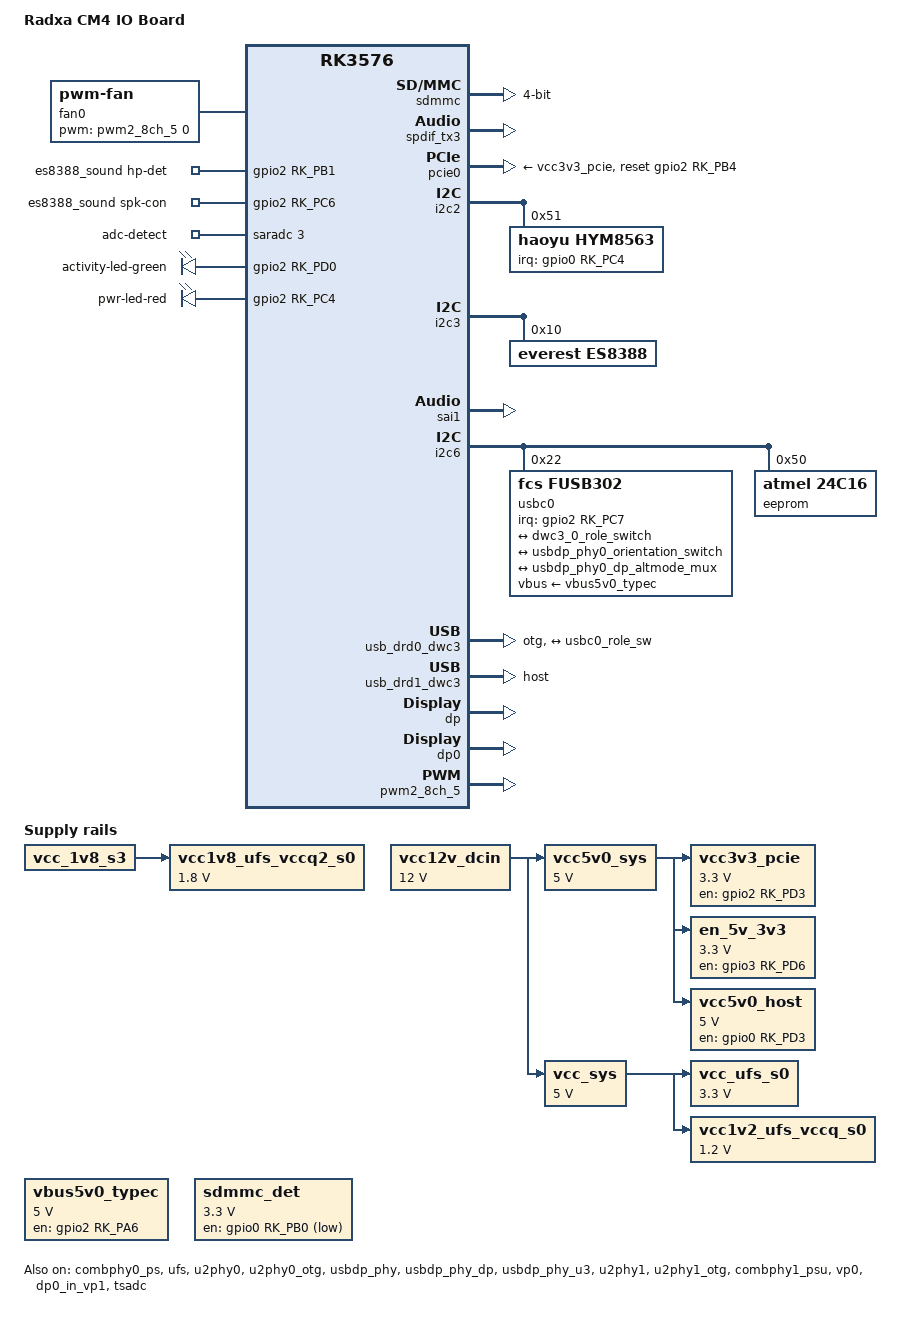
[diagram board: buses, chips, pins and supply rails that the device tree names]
// SPDX-License-Identifier: (GPL-2.0+ OR MIT)
/*
 * Copyright (c) 2025 Rockchip Electronics Co., Ltd.
 * Copyright (c) 2025 Radxa Computer (Shenzhen) Co., Ltd.
 *
 */

/dts-v1/;

#include "rk3576-radxa-cm4.dtsi"

/ {
	model = "Radxa CM4 IO Board";
	compatible = "radxa,cm4-io", "radxa,cm4", "rockchip,rk3576";

	/delete-node/ chosen;

	fan0: pwm-fan {
		compatible = "pwm-fan";
		#cooling-cells = <2>;
		cooling-levels = <0 64 128 192 255>;
		pwms = <&pwm2_8ch_5 0 60000 0>;
	};

	vcc12v_dcin: vcc12v-dcin {
		compatible = "regulator-fixed";
		regulator-name = "vcc12v_dcin";
		regulator-always-on;
		regulator-boot-on;
		regulator-min-microvolt = <12000000>;
		regulator-max-microvolt = <12000000>;
	};

	vcc5v0_sys: vcc5v0-sys {
		compatible = "regulator-fixed";
		regulator-name = "vcc5v0_sys";
		regulator-always-on;
		regulator-boot-on;
		regulator-min-microvolt = <5000000>;
		regulator-max-microvolt = <5000000>;
		vin-supply = <&vcc12v_dcin>;
	};

	vcc_sys: vcc5v0-sys {
		compatible = "regulator-fixed";
		regulator-name = "vcc_sys";
		regulator-always-on;
		regulator-boot-on;
		regulator-min-microvolt = <5000000>;
		regulator-max-microvolt = <5000000>;
		vin-supply = <&vcc12v_dcin>;
	};

	vcc3v3_pcie: vcc3v3-pcie {
		compatible = "regulator-fixed";
		regulator-name = "vcc3v3_pcie";
		regulator-min-microvolt = <3300000>;
		regulator-max-microvolt = <3300000>;
		startup-delay-us = <5000>;
		enable-active-high;
		regulator-boot-on;
		regulator-always-on;
		gpios = <&gpio2 RK_PD3 GPIO_ACTIVE_HIGH>;
		vin-supply = <&vcc5v0_sys>;
	};

	vbus5v0_typec: vbus5v0-typec {
		compatible = "regulator-fixed";
		regulator-name = "vbus5v0_typec";
		regulator-min-microvolt = <5000000>;
		regulator-max-microvolt = <5000000>;
		enable-active-high;
		gpio = <&gpio2 RK_PA6 GPIO_ACTIVE_HIGH>;
		pinctrl-names = "default";
		pinctrl-0 = <&usb_otg0_pwren>;
	};

	en_5v_3v3: en-5v-3v3 {
		compatible = "regulator-fixed";
		regulator-name = "en_5v_3v3";
		regulator-min-microvolt = <3300000>;
		regulator-max-microvolt = <3300000>;
		enable-active-high;
		regulator-boot-on;
		regulator-always-on;
		gpios = <&gpio3 RK_PD6 GPIO_ACTIVE_HIGH>;
		startup-delay-us = <50000>;
		vin-supply = <&vcc5v0_sys>;
	};

	vcc5v0_host: vcc5v0-host-regulator {
		compatible = "regulator-fixed";
		regulator-name = "vcc5v0_host";
		regulator-boot-on;
		regulator-always-on;
		regulator-min-microvolt = <5000000>;
		regulator-max-microvolt = <5000000>;
		enable-active-high;
		gpio = <&gpio0 RK_PD3 GPIO_ACTIVE_HIGH>;
		pinctrl-names = "default";
		pinctrl-0 = <&vcc5v0_host_en>;
		vin-supply = <&vcc5v0_sys>;
	};

	sdmmc_det: sdmmc-det {
		compatible = "regulator-fixed";
		regulator-name = "sdmmc_det";
		regulator-boot-on;
		regulator-always-on;
		regulator-min-microvolt = <3300000>;
		regulator-max-microvolt = <3300000>;
		enable-active-low;
		gpio = <&gpio0 RK_PB0 GPIO_ACTIVE_LOW>;
		pinctrl-names = "default";
		pinctrl-0 = <&sdmmc_det_l>;
	};

	es8388_sound: es8388-sound {
		status = "okay";
		compatible = "rockchip,multicodecs-card";
		rockchip,card-name = "rockchip-es8388";
		hp-det-gpio = <&gpio2 RK_PB1 GPIO_ACTIVE_HIGH>;
		io-channels = <&saradc 3>;
		io-channel-names = "adc-detect";
		keyup-threshold-microvolt = <1800000>;
		poll-interval = <100>;
		spk-con-gpio = <&gpio2 RK_PC6 GPIO_ACTIVE_HIGH>;
		rockchip,pre-power-on-delay-ms = <30>;
		rockchip,post-power-down-delay-ms = <40>;
		rockchip,format = "i2s";
		rockchip,mclk-fs = <256>;
		rockchip,cpu = <&sai1>;
		rockchip,codec = <&es8388>;
		rockchip,audio-routing =
			"Headphone", "LOUT1",
			"Headphone", "ROUT1",
			"Speaker", "LOUT2",
			"Speaker", "ROUT2",
			"Headphone", "Headphone Power",
			"Headphone", "Headphone Power",
			"Speaker", "Speaker Power",
			"Speaker", "Speaker Power",
			"LINPUT1", "Main Mic",
			"LINPUT2", "Main Mic",
			"RINPUT1", "Headset Mic",
			"RINPUT2", "Headset Mic";
		pinctrl-names = "default";
		pinctrl-0 = <&hp_det>;
		play-pause-key {
			label = "playpause";
			linux,code = <KEY_PLAYPAUSE>;
			press-threshold-microvolt = <2000>;
		};
	};

	dp0_sound: dp0-sound {
		status = "okay";
		compatible = "rockchip,hdmi";
		rockchip,mclk-fs = <512>;
		rockchip,card-name = "rockchip-dp0";
		rockchip,cpu = <&spdif_tx3>;
		rockchip,codec = <&dp0 1>;
		rockchip,jack-det;
	};

	vcc_ufs_s0: vcc-ufs-s0 {
		compatible = "regulator-fixed";
		regulator-name = "vcc_ufs_s0";
		regulator-boot-on;
		regulator-always-on;
		regulator-min-microvolt = <3300000>;
		regulator-max-microvolt = <3300000>;
		vin-supply = <&vcc_sys>;
	};

	vcc1v8_ufs_vccq2_s0: vcc1v8-ufs-vccq2-s0 {
		compatible = "regulator-fixed";
		regulator-name = "vcc1v8_ufs_vccq2_s0";
		regulator-boot-on;
		regulator-always-on;
		regulator-min-microvolt = <1800000>;
		regulator-max-microvolt = <1800000>;
		vin-supply = <&vcc_1v8_s3>;
	};

	vcc1v2_ufs_vccq_s0: vcc1v2-ufs-vccq-s0 {
		compatible = "regulator-fixed";
		regulator-name = "vcc1v2_ufs_vccq_s0";
		regulator-boot-on;
		regulator-always-on;
		regulator-min-microvolt = <1200000>;
		regulator-max-microvolt = <1200000>;
		vin-supply = <&vcc_sys>;
	};
};

&leds {
	activity-led-green {
		gpios = <&gpio2 RK_PD0 GPIO_ACTIVE_HIGH>;
		linux,default-trigger = "heartbeat";
	};

	pwr-led-red {
		gpios = <&gpio2 RK_PC4 GPIO_ACTIVE_HIGH>;
		linux,default-trigger = "default-on";
	};
};

&sdmmc {
	max-frequency = <200000000>;
	no-sdio;
	no-mmc;
	bus-width = <4>;
	cap-mmc-highspeed;
	cap-sd-highspeed;
	disable-wp;
	sd-uhs-sdr104;
	vqmmc-supply = <&vccio_sd_s0>;
	status = "okay";
};

&spdif_tx3 {
	status = "okay";
};

&combphy0_ps {
	status = "okay";
};

&pcie0 {
	reset-gpios = <&gpio2 RK_PB4 GPIO_ACTIVE_HIGH>;
	rockchip,skip-scan-in-resume;
	vpcie3v3-supply = <&vcc3v3_pcie>;
	status = "okay";
};

&i2c2 {
	status = "okay";
	pinctrl-names = "default";
	pinctrl-0 = <&i2c2m0_xfer>;

	hym8563: hym8563@51 {
		status = "okay";
		compatible = "haoyu,hym8563";
		reg = <0x51>;
		pinctrl-names = "default";
		pinctrl-0 = <&rtc_int>;
		interrupt-parent = <&gpio0>;
		interrupts = <RK_PC4 IRQ_TYPE_LEVEL_LOW>;
		wakeup-source;
	};
};

&i2c3 {
	status = "okay";
	es8388: es8388@10 {
		status = "okay";
		#sound-dai-cells = <0>;
		compatible = "everest,es8388", "everest,es8323";
		reg = <0x10>;
		clocks = <&mclkout_sai1>;
		clock-names = "mclk";
		assigned-clocks = <&mclkout_sai1>;
		assigned-clock-rates = <12288000>;
		pinctrl-names = "default";
		pinctrl-0 = <&sai1m0_mclk>;
	};
};

&sai1 {
	status = "okay";
	pinctrl-names = "default";
	pinctrl-0 = <&sai1m0_lrck
		     &sai1m0_sclk
		     &sai1m0_sdi0
		     &sai1m0_sdo0>;
};

&ufs {
	status = "okay";
	reset-gpios = <&gpio4 RK_PD0 GPIO_ACTIVE_HIGH>;
};

&i2c6 {
	status = "okay";
	pinctrl-names = "default";
	pinctrl-0 = <&i2c6m3_xfer>;

	usbc0: fusb302@22 {
		compatible = "fcs,fusb302";
		reg = <0x22>;
		interrupt-parent = <&gpio2>;
		interrupts = <RK_PC7 IRQ_TYPE_LEVEL_LOW>;
		pinctrl-names = "default";
		pinctrl-0 = <&usbc0_int>;
		vbus-supply = <&vbus5v0_typec>;
		status = "okay";

		ports {
			#address-cells = <1>;
			#size-cells = <0>;
			port@0 {
			reg = <0>;
			usbc0_role_sw: endpoint@0 {
				remote-endpoint = <&dwc3_0_role_switch>;
				};
			};
		};

		usb_con: connector {
			compatible = "usb-c-connector";
			label = "USB-C";
			data-role = "dual";
			power-role = "dual";
			try-power-role = "sink";
			op-sink-microwatt = <1000000>;

			sink-pdos =
				<PDO_FIXED(5000, 1000, PDO_FIXED_USB_COMM)>;
			source-pdos =
				<PDO_FIXED(5000, 3000, PDO_FIXED_USB_COMM)>;

			altmodes {
				#address-cells = <1>;
				#size-cells = <0>;

				altmode@0 {
					reg = <0>;
					svid = <0xff01>;
					vdo = <0xffffffff>;
				};
			};

			ports {
				#address-cells = <1>;
				#size-cells = <0>;

				port@0 {
					reg = <0>;
					usbc0_orien_sw: endpoint {
						remote-endpoint = <&usbdp_phy0_orientation_switch>;
					};
				};

				port@1 {
					reg = <1>;
					dp_altmode_mux: endpoint {
						remote-endpoint = <&usbdp_phy0_dp_altmode_mux>;
					};
				};
			};
		};
	};

	eeprom:	at24c16@50 {
		status = "okay";
		compatible = "atmel,24c16";
		reg = <0x50>;
		pagesize = <16>;
	};
};

&u2phy0 {
	status = "okay";
};

&u2phy0_otg {
	rockchip,typec-vbus-det;
};

&usbdp_phy {
	status = "okay";
	orientation-switch;
	svid = <0xff01>;
	sbu1-dc-gpios = <&gpio3 RK_PA1 GPIO_ACTIVE_HIGH>;
	sbu2-dc-gpios = <&gpio2 RK_PD4 GPIO_ACTIVE_HIGH>;

	port {
		#address-cells = <1>;
		#size-cells = <0>;
		usbdp_phy0_orientation_switch: endpoint@0 {
			reg = <0>;
			remote-endpoint = <&usbc0_orien_sw>;
		};

		usbdp_phy0_dp_altmode_mux: endpoint@1 {
			reg = <1>;
			remote-endpoint = <&dp_altmode_mux>;
		};
	};
};

&u2phy0 {
	status = "okay";
};

&u2phy0_otg {
	status = "okay";
};

&usbdp_phy_dp {
	status = "okay";
};

&usbdp_phy_u3 {
	status = "okay";
};

&usb_drd0_dwc3 {
	status = "okay";
	dr_mode = "otg";
	usb-role-switch;

	port {
		#address-cells = <1>;
		#size-cells = <0>;
		dwc3_0_role_switch: endpoint@0 {
			reg = <0>;
			remote-endpoint = <&usbc0_role_sw>;
		};
	};
};

&u2phy1 {
	status = "okay";
};

&u2phy1_otg {
	phy-supply = <&vcc5v0_host>;
	status = "okay";
};

&usb_drd1_dwc3 {
	dr_mode = "host";
	status = "okay";
};

&combphy1_psu {
	status = "okay";
};

&vp0 {
	status = "okay";
};

&vp0 {
	assigned-clocks = <&cru DCLK_VP0_SRC>;
	assigned-clock-parents = <&cru PLL_VPLL>;
};

&vp1 {
	assigned-clocks = <&cru DCLK_VP1_SRC>;
	assigned-clock-parents = <&cru PLL_VPLL>;
};

&vp2 {
	assigned-clocks = <&cru DCLK_VP2_SRC>;
	assigned-clock-parents = <&cru PLL_GPLL>;
};

&dp {
	status = "okay";
};

&dp0 {
	status = "okay";
};

&dp0_in_vp1 {
	status = "okay";
};

&pwm2_8ch_5 {
	pinctrl-0 = <&pwm2m1_ch5>;
	status = "okay";
};

&tsadc {
	status = "okay";
};

&threshold {
	temperature = <60000>;
};

&little_core_thermal {
	sustainable-power = <5000>; /* milliwatts */
	cooling-maps {
		map3 {
			trip = <&target>;
			cooling-device =
				<&fan0 THERMAL_NO_LIMIT THERMAL_NO_LIMIT>;
			contribution = <8192>;
		};
		map4 {
			trip = <&threshold>;
			cooling-device =
				<&fan0 THERMAL_NO_LIMIT THERMAL_NO_LIMIT>;
			contribution = <8192>;
		};
	};
};

&pinctrl {
	sd_det {
		sdmmc_det_l: sdmmc-det-l {
			rockchip,pins = <0 RK_PB0 RK_FUNC_GPIO &pcfg_pull_down>;
		};
	};

	rtc {
		rtc_int: rtc-int {
			rockchip,pins = <0 RK_PC4 RK_FUNC_GPIO &pcfg_pull_up>;
		};
	};

	headphone {
		hp_det: hp-det {
			rockchip,pins = <2 RK_PB1 RK_FUNC_GPIO &pcfg_pull_up>;
		};
	};

	usb {
		vcc5v0_host_en: vcc5v0-host-en {
			rockchip,pins = <0 RK_PD3 RK_FUNC_GPIO &pcfg_pull_none>;
		};

		usb_otg0_pwren: usb-otg0-pwren {
			rockchip,pins = <2 RK_PA6 RK_FUNC_GPIO &pcfg_pull_none>;
		};

		usbc0_int: usbc0-int {
			rockchip,pins = <2 RK_PC7 RK_FUNC_GPIO &pcfg_pull_up>;
		};
	};

};

&gpio0 {
	gpio-line-names =
		/* GPIO0_A0-A3 */
		"", "", "", "",
		/* GPIO0_A4-A7 */
		"", "", "", "",

		/* GPIO0_B0-B3 */
		"", "", "", "",
		/* GPIO0_B4-B7 */
		"", "", "", "",

		/* GPIO0_C0-C3 */
		"", "", "", "",
		/* GPIO0_C4-C7 */
		"", "", "", "",

		/* GPIO0_D0-D3 */
		"", "", "", "",
		/* GPIO0_D4-D7 */
		"PIN_8", "PIN_10", "", "";
};

&gpio1 {
	gpio-line-names =
		/* GPIO1_A0-A3 */
		"", "", "", "",
		/* GPIO1_A4-A7 */
		"", "", "", "",

		/* GPIO1_B0-B3 */
		"", "", "", "",
		/* GPIO1_B4-B7 */
		"PIN_23", "PIN_19", "PIN_21", "PIN_24",

		/* GPIO1_C0-C3 */
		"PIN_26", "PIN_31", "PIN_33", "PIN_7",
		/* GPIO1_C4-C7 */
		"PIN_11", "PIN_15", "PIN_5", "PIN_3",

		/* GPIO1_D0-D3 */
		"PIN_40", "PIN_12", "PIN_35", "PIN_38",
		/* GPIO1_D4-D7 */
		"PIN_36", "PIN_32", "", "";
};

&gpio2 {
	gpio-line-names =
		/* GPIO2_A0-A3 */
		"", "", "", "",
		/* GPIO2_A4-A7 */
		"", "", "", "",

		/* GPIO2_B0-B3 */
		"", "", "", "",
		/* GPIO2_B4-B7 */
		"", "", "PIN_16", "PIN_18",

		/* GPIO2_C0-C3 */
		"PIN_13", "", "", "",
		/* GPIO2_C4-C7 */
		"", "", "", "",

		/* GPIO2_D0-D3 */
		"", "", "", "",
		/* GPIO2_D4-D7 */
		"", "", "", "PIN_22";
};

&gpio3 {
	gpio-line-names =
		/* GPIO3_A0-A3 */
		"", "", "PIN_29", "PIN_37",
		/* GPIO3_A4-A7 */
		"", "", "", "",

		/* GPIO3_B0-B3 */
		"", "", "", "",
		/* GPIO3_B4-B7 */
		"", "", "", "",

		/* GPIO3_C0-C3 */
		"", "", "", "",
		/* GPIO3_C4-C7 */
		"", "", "", "",

		/* GPIO3_D0-D3 */
		"", "", "", "",
		/* GPIO3_D4-D7 */
		"", "", "", "";
};

&gpio4 {
	gpio-line-names =
		/* GPIO4_A0-A3 */
		"", "", "", "",
		/* GPIO4_A4-A7 */
		"", "", "", "",

		/* GPIO4_B0-B3 */
		"", "", "", "",
		/* GPIO4_B4-B7 */
		"", "", "", "",

		/* GPIO4_C0-C3 */
		"", "", "", "",
		/* GPIO4_C4-C7 */
		"", "", "PIN_28", "PIN_27",

		/* GPIO4_D0-D3 */
		"", "", "", "",
		/* GPIO4_D4-D7 */
		"", "", "", "";
};
